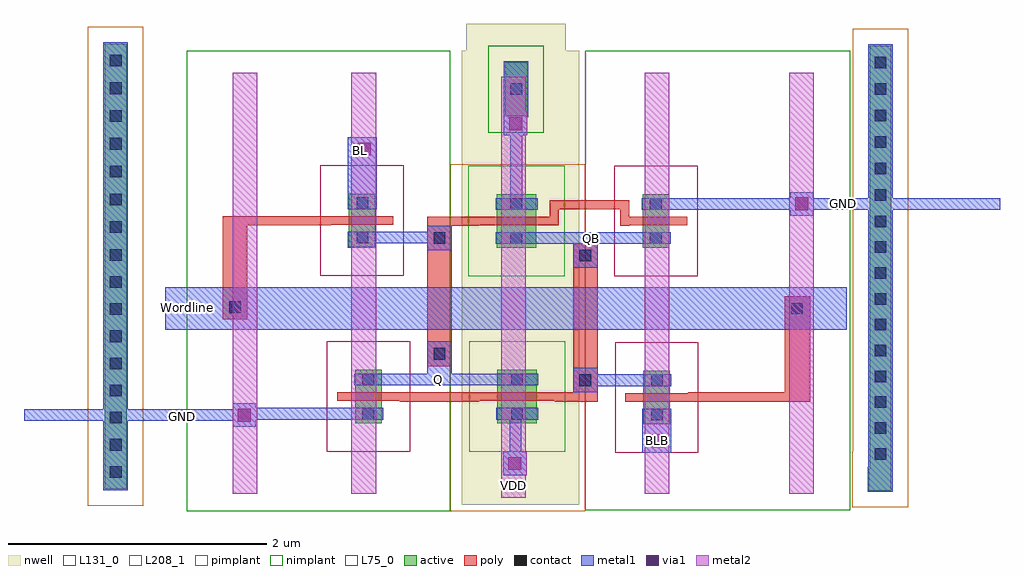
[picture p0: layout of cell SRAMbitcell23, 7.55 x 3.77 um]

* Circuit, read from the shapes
.subckt SRAMbitcell23 BL BLB GND Q QB VDD Wordline
M1 BL Wordline Q GND nfet w=0.205u l=0.065u
M2 Q QB GND GND nfet w=0.205u l=0.065u
M3 GND Q QB GND nfet w=0.205u l=0.065u
M4 QB Wordline BLB GND nfet w=0.205u l=0.065u
M5 VDD Q QB VDD pfet w=0.305u l=0.065u
M6 Q QB VDD VDD pfet w=0.305u l=0.065u
.ends

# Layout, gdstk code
from math import pi, radians
import gdstk
lib = gdstk.Library(unit=1e-6, precision=1e-09)
def R(c, l, rs):  # rectangles x0, y0, x1, y1
    for r in rs: c.add(gdstk.rectangle(r[:2], r[2:], *l))
def A(c, l, x, y, w, h, nx, ny, dx, dy):  # array of equal rectangles
    R(c, l, [(x+i*dx, y+j*dy, x+i*dx+w, y+j*dy+h) for i in range(nx) for j in range(ny)])
nwell = (3, 0)
active = (6, 0)
poly = (17, 0)
pimplant = (25, 0)
nimplant = (26, 0)
contact = (30, 0)
metal1 = (31, 0)
metal2 = (32, 0)
via1 = (51, 0)
L75_0 = (75, 0)
L131_0 = (131, 0)
L208_1 = (208, 1)

nch_mac_cdns_72838928046 = lib.new_cell('nch_mac_CDNS_728389280460')
R(nch_mac_cdns_72838928046, active, [(-0.175,0,0,0.205), (0,0,0.065,0.205), (0.065,0,0.24,0.205)])
R(nch_mac_cdns_72838928046, poly, [(0,-0.14,0.065,0), (0,0,0.065,0.205), (0,0.205,0.065,0.345)])
R(nch_mac_cdns_72838928046, nimplant, [(-0.305,-0.34,0.37,0.545)])
R(nch_mac_cdns_72838928046, contact, [(-0.145,0.055,-0.055,0.145), (0.12,0.055,0.21,0.145)])
R(nch_mac_cdns_72838928046, metal1, [(-0.145,-0.01,-0.055,0.215), (0.12,-0.01,0.21,0.215)])
R(nch_mac_cdns_72838928046, L75_0, [(-0.395,-0.22,0.46,0.425)])
R(nch_mac_cdns_72838928046, L208_1, [(-0.395,-0.22,0.46,0.425)])
nch_mac_cdns_72838928046.add(gdstk.Label('& SerialNumber 000000', (0,0), layer=63, texttype=63))
nch_mac_cdns_72838928046.add(gdstk.Label('& Distributor TSMC', (0,0), layer=63, texttype=63))
nch_mac_cdns_72838928046.add(gdstk.Label('& Metric 1', (0,0), layer=63, texttype=63))
nch_mac_cdns_72838928046.add(gdstk.Label('& PDK Version "tsmcN65_DTQ::RWg\\177;oCnm~vw{v}v\\202_20120815"', (0,0), layer=63, texttype=63))
nch_mac_cdns_72838928046.add(gdstk.Label('& PDK TechNode "CRN65LP"', (0,0), layer=63, texttype=63))
nch_mac_cdns_72838928046.add(gdstk.Label('& Product    tsmcN65_PDK', (0,0), layer=63, texttype=63))
nch_mac_cdns_72838928046.add(gdstk.Label('& Vendor     Taiwan Semiconductor manufacturing Corp.', (0,0), layer=63, texttype=63))
nch_mac_cdns_72838928046.add(gdstk.Label('[@instanceName]', (0.032,0.102), layer=127, texttype=0))
nch_mac_cdns_72838928046.add(gdstk.Label('nch_mac\n0.205/0.065\n', (0,0), layer=127, texttype=0))
nch_mac_cdns_72838928046.add(gdstk.Label('D', (0.165,0.102), layer=127, texttype=0))
nch_mac_cdns_72838928046.add(gdstk.Label('S', (-0.1,0.102), layer=127, texttype=0))

pch_mac_cdns_72838928046 = lib.new_cell('pch_mac_CDNS_728389280461')
R(pch_mac_cdns_72838928046, nwell, [(-0.395,-0.22,0.46,0.525)])
R(pch_mac_cdns_72838928046, active, [(-0.175,0,0,0.305), (0,0,0.065,0.305), (0.065,0,0.24,0.305)])
R(pch_mac_cdns_72838928046, poly, [(0,-0.14,0.065,0), (0,0,0.065,0.305), (0,0.305,0.065,0.445)])
R(pch_mac_cdns_72838928046, pimplant, [(-0.305,-0.34,0.37,0.645)])
R(pch_mac_cdns_72838928046, contact, [(-0.145,0.105,-0.055,0.195), (0.12,0.105,0.21,0.195)])
R(pch_mac_cdns_72838928046, metal1, [(-0.145,-0.01,-0.055,0.315), (0.12,-0.01,0.21,0.315)])
R(pch_mac_cdns_72838928046, L208_1, [(-0.395,-0.22,0.46,0.525)])
pch_mac_cdns_72838928046.add(gdstk.Label('& SerialNumber 000000', (0,0), layer=63, texttype=63))
pch_mac_cdns_72838928046.add(gdstk.Label('& Distributor TSMC', (0,0), layer=63, texttype=63))
pch_mac_cdns_72838928046.add(gdstk.Label('& Metric 1', (0,0), layer=63, texttype=63))
pch_mac_cdns_72838928046.add(gdstk.Label('& PDK Version "tsmcN65_DTQ::RWg\\177;oCnm~vw{v}v\\202_20120815"', (0,0), layer=63, texttype=63))
pch_mac_cdns_72838928046.add(gdstk.Label('& PDK TechNode "CRN65LP"', (0,0), layer=63, texttype=63))
pch_mac_cdns_72838928046.add(gdstk.Label('& Product    tsmcN65_PDK', (0,0), layer=63, texttype=63))
pch_mac_cdns_72838928046.add(gdstk.Label('& Vendor     Taiwan Semiconductor manufacturing Corp.', (0,0), layer=63, texttype=63))
pch_mac_cdns_72838928046.add(gdstk.Label('[@instanceName]', (0.032,0.152), layer=127, texttype=0))
pch_mac_cdns_72838928046.add(gdstk.Label('pch_mac\n0.305/0.065\n', (0,0), layer=127, texttype=0))
pch_mac_cdns_72838928046.add(gdstk.Label('D', (0.165,0.152), layer=127, texttype=0))
pch_mac_cdns_72838928046.add(gdstk.Label('S', (-0.1,0.152), layer=127, texttype=0))

m2_m1_cdns_728389280460 = lib.new_cell('M2_M1_CDNS_728389280460')
R(m2_m1_cdns_728389280460, metal1, [(-0.09,-0.09,0.09,0.09)])
R(m2_m1_cdns_728389280460, metal2, [(-0.09,-0.09,0.09,0.09)])
R(m2_m1_cdns_728389280460, via1, [(-0.05,-0.05,0.05,0.05)])

m1_po_cdns_728389280461 = lib.new_cell('M1_PO_CDNS_728389280461')
R(m1_po_cdns_728389280461, poly, [(-0.095,-0.095,0.095,0.095)])
R(m1_po_cdns_728389280461, contact, [(-0.045,-0.045,0.045,0.045)])
R(m1_po_cdns_728389280461, metal1, [(-0.095,-0.095,0.095,0.095)])

srambitcell23 = lib.new_cell('SRAMbitcell23')
R(srambitcell23, nwell, [(2.435,0.105,3.345,3.62), (2.47,0.365,3.27,1.165), (2.49,0.51,3.235,1.365), (2.708,0.72,3.015,1.145), (2.485,2.075,3.34,2.93), (2.705,2.095,3.01,2.51)])
R(srambitcell23, poly, [(5.125,0.905,5.13,0.91), (4.935,0.91,5.13,1.53), (3.295,1.165,3.48,1.985), (3.385,1.165,3.485,1.98), (2.165,1.265,2.355,1.29), (2.165,1.29,2.345,2.075), (2.33,1.29,2.355,2.075), (5.125,1.53,5.13,1.72), (0.585,1.73,0.775,2.275)])
R(srambitcell23, pimplant, [(2.345,0.055,3.39,2.74)])
R(srambitcell23, nimplant, [(0.305,0.055,2.345,3.62), (3.39,0.065,5.44,3.62)])
A(srambitcell23, contact, -0.29, 0.315, 0.09, 0.09, 1, 9, 0, 0.21)
A(srambitcell23, contact, 5.63, 0.455, 0.09, 0.09, 1, 10, 0, 0.2)
A(srambitcell23, contact, -0.29, 2.21, 0.09, 0.09, 1, 7, 0, 0.215)
A(srambitcell23, contact, 5.63, 2.46, 0.09, 0.09, 1, 6, 0, 0.205)
R(srambitcell23, contact, [(2.81,3.28,2.9,3.37)])
R(srambitcell23, metal1, [(2.805,0.38,2.895,0.47), (3.83,0.51,4.047,0.76), (4.037,0.51,4.055,0.76), (3.9,0.555,3.99,0.645), (2.21,1.03,2.3,1.12), (2.165,1.12,2.355,1.18), (0.14,1.46,5.415,1.79), (0.265,1.585,0.355,1.675), (1.55,2.095,1.765,2.215), (3.395,2.125,3.485,2.215), (1.621,2.13,1.711,2.22), (5.105,2.39,5.195,2.48), (1.695,2.435,1.711,2.44), (1.55,2.48,1.769,2.95), (1.769,2.48,1.775,2.95), (2.81,2.48,2.9,3.01), (1.61,2.81,1.7,2.9)])
R(srambitcell23, metal2, [(2.74,0.16,2.93,3.42), (0.66,0.19,0.85,3.45), (1.58,0.19,1.77,3.45), (3.85,0.19,4.04,3.45), (4.97,0.19,5.16,3.45), (2.8,0.255,2.87,0.31)])
R(srambitcell23, L131_0, [(0.24,0.79,0.28,0.835), (5.365,2.435,5.4,2.465)])
srambitcell23.add(gdstk.FlexPath([(2.855,3.445),(2.855,3.2)], 0.77, ends="extended", simple_path=True, layer=3, datatype=0))  # nwell
srambitcell23.add(gdstk.FlexPath([(3.155,0.94),(3.485,0.94)], 0.07, ends="flush", simple_path=True, layer=17, datatype=0))  # poly
srambitcell23.add(gdstk.FlexPath([(3.695,2.3),(3.695,2.43)], 0.07, ends="extended", simple_path=True, layer=17, datatype=0))  # poly
srambitcell23.add(gdstk.FlexPath([(3.15,2.43),(3.15,2.305)], 0.07, ends="extended", simple_path=True, layer=17, datatype=0))  # poly
srambitcell23.add(gdstk.FlexPath([(1.42,2.305),(0.585,2.305)], 0.07, ends="flush", simple_path=True, layer=17, datatype=0))  # poly
srambitcell23.add(gdstk.FlexPath([(4.185,0.94),(5.125,0.94)], 0.07, ends="flush", simple_path=True, layer=17, datatype=0))  # poly
srambitcell23.add(gdstk.FlexPath([(2.26,2.205),(2.26,2.17)], 0.07, ends="flush", simple_path=True, layer=17, datatype=0))  # poly
srambitcell23.add(gdstk.FlexPath([(2.565,2.3),(2.165,2.3)], 0.07, ends="flush", simple_path=True, layer=17, datatype=0))  # poly
srambitcell23.add(gdstk.FlexPath([(1.955,0.94),(2.57,0.94)], 0.07, ends="flush", simple_path=True, layer=17, datatype=0))  # poly
srambitcell23.add(gdstk.FlexPath([(3.695,2.43),(3.15,2.43)], 0.07, ends=(0, 0.035), simple_path=True, layer=17, datatype=0))  # poly
srambitcell23.add(gdstk.FlexPath([(-0.245,3.59),(-0.245,0.315)], 0.43, ends="extended", simple_path=True, layer=25, datatype=0))  # pimplant
srambitcell23.add(gdstk.FlexPath([(5.675,3.575),(5.675,0.3),(5.67,0.3)], 0.43, ends="extended", simple_path=True, layer=25, datatype=0))  # pimplant
srambitcell23.add(gdstk.FlexPath([(2.855,3.445),(2.855,3.2)], 0.19, ends="extended", simple_path=True, layer=31, datatype=0))  # metal1
srambitcell23.add(gdstk.FlexPath([(2.255,1.275),(2.26,1.275)], 0.09, ends=(0.045, 0), simple_path=True, layer=31, datatype=0))  # metal1
srambitcell23.add(gdstk.FlexPath([(2.255,1.075),(2.255,1.275)], 0.09, ends=(0, 0.045), simple_path=True, layer=31, datatype=0))  # metal1
srambitcell23.add(gdstk.FlexPath([(3.425,1.995),(3.435,1.995)], 0.09, ends=(0.045, 0), simple_path=True, layer=31, datatype=0))  # metal1
srambitcell23.add(gdstk.FlexPath([(0.745,0.8),(0.745,0.79)], 0.09, ends=(0.045, 0), simple_path=True, layer=31, datatype=0))  # metal1
srambitcell23.add(gdstk.FlexPath([(5.545,2.435),(6.6,2.435)], 0.09, ends=(0.045, 0), simple_path=True, layer=31, datatype=0))  # metal1
srambitcell23.add(gdstk.FlexPath([(5.545,2.435),(5.545,2.45)], 0.09, ends=(0.045, 0), simple_path=True, layer=31, datatype=0))  # metal1
srambitcell23.add(gdstk.FlexPath([(4.05,2.435),(5.545,2.435)], 0.09, ends=(0, 0.045), simple_path=True, layer=31, datatype=0))  # metal1
srambitcell23.add(gdstk.FlexPath([(-0.955,0.8),(0.745,0.8)], 0.09, ends=(0, 0.045), simple_path=True, layer=31, datatype=0))  # metal1
srambitcell23.add(gdstk.FlexPath([(5.675,3.575),(5.675,0.3),(5.67,0.3)], 0.19, ends="extended", simple_path=True, layer=31, datatype=0))  # metal1
srambitcell23.add(gdstk.FlexPath([(0.745,0.8),(0.75,0.8)], 0.09, ends=(0.045, 0), simple_path=True, layer=31, datatype=0))  # metal1
srambitcell23.add(gdstk.FlexPath([(3.425,2.16),(3.425,1.995)], 0.09, ends="extended", simple_path=True, layer=31, datatype=0))  # metal1
srambitcell23.add(gdstk.FlexPath([(-0.245,3.59),(-0.245,0.315)], 0.19, ends="extended", simple_path=True, layer=31, datatype=0))  # metal1
srambitcell23.add(gdstk.FlexPath([(2.85,0.47),(2.85,0.765)], 0.09, ends="flush", simple_path=True, layer=31, datatype=0))  # metal1
srambitcell23.add(gdstk.FlexPath([(0.745,0.805),(0.745,0.8)], 0.09, ends="extended", simple_path=True, layer=31, datatype=0))  # metal1
srambitcell23.add(gdstk.FlexPath([(1.615,0.81),(0.76,0.81)], 0.09, ends=(0, 0.045), simple_path=True, layer=31, datatype=0))  # metal1
srambitcell23.add(gdstk.FlexPath([(2.225,2.17),(2.225,2.185)], 0.09, ends=(0.045, 0), simple_path=True, layer=31, datatype=0))  # metal1
srambitcell23.add(gdstk.FlexPath([(1.775,2.175),(2.225,2.175)], 0.09, ends=(0, 0.045), simple_path=True, layer=31, datatype=0))  # metal1
srambitcell23.add(gdstk.FlexPath([(1.825,1.075),(2.7,1.075)], 0.09, ends="flush", simple_path=True, layer=31, datatype=0))  # metal1
srambitcell23.add(gdstk.FlexPath([(3.02,2.17),(3.825,2.17)], 0.09, ends=(0.045, 0), simple_path=True, layer=31, datatype=0))  # metal1
srambitcell23.add(gdstk.FlexPath([(3.83,1.07),(3.435,1.07)], 0.09, ends="flush", simple_path=True, layer=31, datatype=0))  # metal1
srambitcell23.add(gdstk.FlexPath([(2.855,3.445),(2.855,3.2)], 0.43, ends="extended", simple_path=True, layer=26, datatype=0))  # nimplant
srambitcell23.add(gdstk.FlexPath([(-0.245,3.59),(-0.245,0.315)], 0.17, ends="extended", simple_path=True, layer=6, datatype=0))  # active
srambitcell23.add(gdstk.FlexPath([(5.675,3.575),(5.675,0.3),(5.67,0.3)], 0.17, ends="extended", simple_path=True, layer=6, datatype=0))  # active
srambitcell23.add(gdstk.FlexPath([(2.855,3.445),(2.855,3.2)], 0.17, ends="extended", simple_path=True, layer=6, datatype=0))  # active
srambitcell23.add(gdstk.Reference(nch_mac_cdns_72838928046, (4.045,0.905), rotation=pi/2))
srambitcell23.add(gdstk.Reference(nch_mac_cdns_72838928046, (1.765,2.275), rotation=pi/2))
srambitcell23.add(gdstk.Reference(nch_mac_cdns_72838928046, (1.61,0.975), rotation=3*pi/2))
srambitcell23.add(gdstk.Reference(nch_mac_cdns_72838928046, (3.835,2.335), rotation=3*pi/2))
srambitcell23.add(gdstk.Reference(pch_mac_cdns_72838928046, (2.71,0.975), rotation=3*pi/2))
srambitcell23.add(gdstk.Reference(pch_mac_cdns_72838928046, (2.705,2.335), rotation=3*pi/2))
srambitcell23.add(gdstk.Reference(m2_m1_cdns_728389280460, (2.845,0.425)))
srambitcell23.add(gdstk.Reference(m2_m1_cdns_728389280460, (3.95,0.6)))
srambitcell23.add(gdstk.Reference(m2_m1_cdns_728389280460, (1.68,2.86)))
srambitcell23.add(gdstk.Reference(m2_m1_cdns_728389280460, (0.75,0.8)))
srambitcell23.add(gdstk.Reference(m2_m1_cdns_728389280460, (5.065,2.435)))
srambitcell23.add(gdstk.Reference(m2_m1_cdns_728389280460, (3.95,0.6)))
srambitcell23.add(gdstk.Reference(m2_m1_cdns_728389280460, (5.065,2.435)))
srambitcell23.add(gdstk.Reference(m2_m1_cdns_728389280460, (0.75,0.8)))
srambitcell23.add(gdstk.Reference(m2_m1_cdns_728389280460, (2.85,3.055)))
srambitcell23.add(gdstk.Reference(m2_m1_cdns_728389280460, (1.68,2.86)))
srambitcell23.add(gdstk.Reference(m1_po_cdns_728389280461, (5.03,1.625)))
srambitcell23.add(gdstk.Reference(m1_po_cdns_728389280461, (0.68,1.635)))
srambitcell23.add(gdstk.Reference(m1_po_cdns_728389280461, (3.39,2.035)))
srambitcell23.add(gdstk.Reference(m1_po_cdns_728389280461, (3.39,1.07)))
srambitcell23.add(gdstk.Reference(m1_po_cdns_728389280461, (2.26,2.17)))
srambitcell23.add(gdstk.Reference(m1_po_cdns_728389280461, (2.26,1.275)))
srambitcell23.add(gdstk.Label('GND', (0.275,0.79), layer=131, texttype=0))
srambitcell23.add(gdstk.Label('GND', (5.39,2.435), layer=131, texttype=0))
srambitcell23.add(gdstk.Label('Wordline', (0.31,1.63), layer=131, texttype=0))
srambitcell23.add(gdstk.Label('BLB', (3.945,0.6), layer=131, texttype=0))
srambitcell23.add(gdstk.Label('BL', (1.65,2.85), layer=131, texttype=0))
srambitcell23.add(gdstk.Label('QB', (3.44,2.17), layer=131, texttype=0))
srambitcell23.add(gdstk.Label('Q', (2.255,1.075), layer=131, texttype=0))
srambitcell23.add(gdstk.Label('GND', (5.175,2.46), layer=131, texttype=0))
srambitcell23.add(gdstk.Label('VDD', (2.835,0.255), layer=132, texttype=0))

lib.write_gds('SRAMbitcell23.gds')
